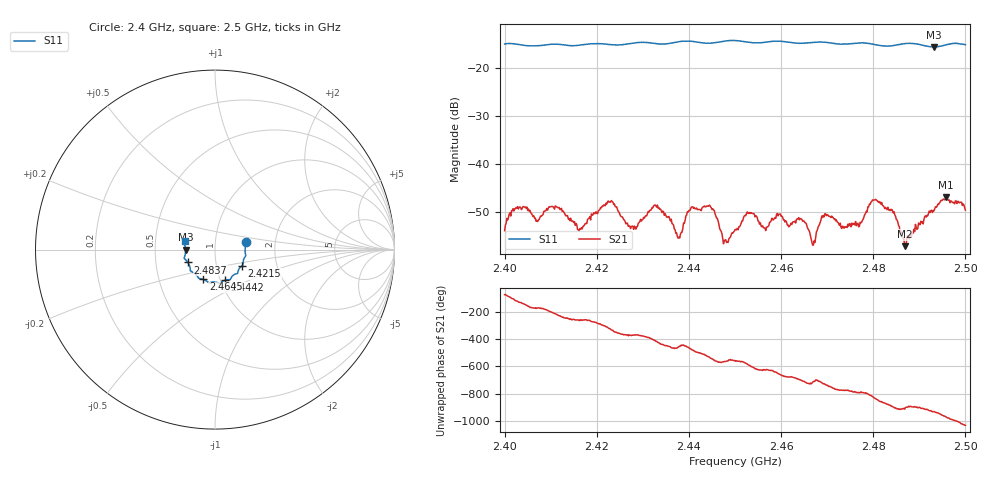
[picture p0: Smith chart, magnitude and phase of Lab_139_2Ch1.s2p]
# Hz S RI R 50
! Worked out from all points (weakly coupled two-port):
!   601 points, 2.4 GHz to 2.5 GHz, reference 50 ohm
!   highest |S21| = -46.99 dB at 2.4958 GHz (marker M1); lowest = -57.1 dB at 2.4868 GHz (marker M2)
!   lowest |S11| = -15.7 dB at 2.4932 GHz (marker M3), VSWR 1.39, Z = 35.9 - j0.0557 ohm
!   |S11| at or under -10 dB: start of sweep to end of sweep
!   S12 and S22 are empty: the file has one direction only
!   S11 on the Smith chart (normalised r, x): 2.4 GHz: 1.41, +0.12; 2.4215 GHz: 1.33, -0.25; 2.4442 GHz: 1.05, -0.37; 2.4645 GHz: 0.83, -0.29; 2.4837 GHz: 0.73, -0.11; 2.5 GHz: 0.71, +0.07
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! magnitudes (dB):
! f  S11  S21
! 2.4 GHz  -15.1  -53.9
! 2.4023 GHz  -15.1  -49.3
! 2.4102 GHz  -15.2  -48.9
! 2.4167 GHz  -15.3  -53.3
! 2.4215 GHz  -15.1  -48.5
! 2.4283 GHz  -14.9  -53.1
! 2.4333 GHz  -15.1  -49.2
! 2.4377 GHz  -14.7  -55.4
! 2.4402 GHz  -14.5  -49.7
! 2.4442 GHz  -15.0  -48.8
! 2.4478 GHz  -14.5  -55.8
! 2.45 GHz  -14.4  -53.7
! 2.453 GHz  -14.8  -50.3
! 2.4645 GHz  -15.0  -51.5
! 2.4667 GHz  -14.8  -56.2
! 2.4693 GHz  -14.7  -51.0
! 2.4833 GHz  -15.6  -49.5
! 2.4837 GHz  -15.5  -49.4
! 2.4868 GHz  -15.0  -57.1
! 2.4932 GHz  -15.7  -49.8
! 2.4958 GHz  -15.3  -47.0
! 2.5 GHz  -15.3  -49.6
